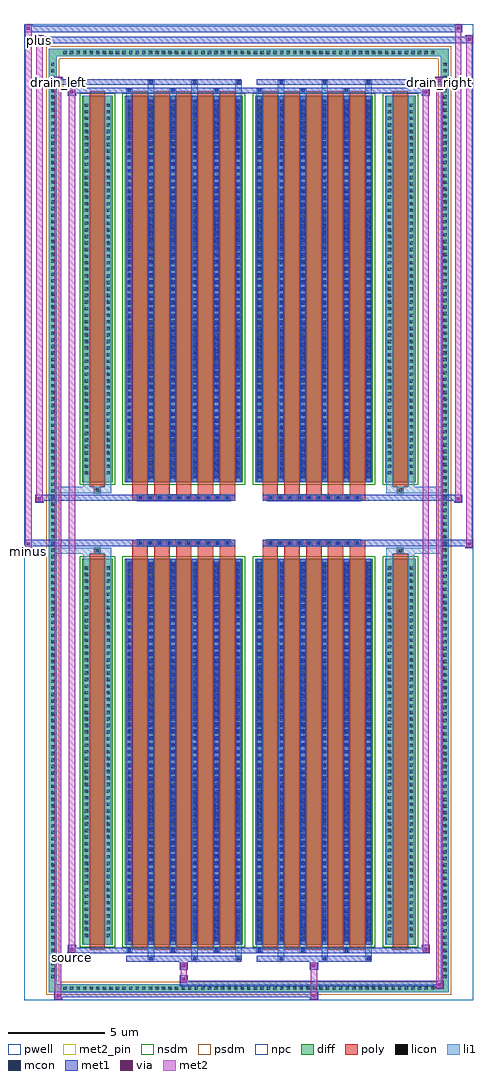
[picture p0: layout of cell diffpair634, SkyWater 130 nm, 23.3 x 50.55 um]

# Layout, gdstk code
import gdstk
lib = gdstk.Library(unit=1e-6, precision=5e-09)
def R(c, l, rs):  # rectangles x0, y0, x1, y1
    for r in rs: c.add(gdstk.rectangle(r[:2], r[2:], *l))
def A(c, l, x, y, w, h, nx, ny, dx, dy):  # array of equal rectangles
    R(c, l, [(x+i*dx, y+j*dy, x+i*dx+w, y+j*dy+h) for i in range(nx) for j in range(ny)])
def P(c, l, *ps):  # polygons
    for p in ps: c.add(gdstk.Polygon(p, *l))
pwell = (64, 44)
diff = (65, 20)
poly = (66, 20)
licon = (66, 44)
li1 = (67, 20)
mcon = (67, 44)
met1 = (68, 20)
via = (68, 44)
met2_pin = (69, 16)
met2 = (69, 20)
nsdm = (93, 44)
psdm = (94, 20)
npc = (95, 20)

diffpair634 = lib.new_cell('diffpair634')
R(diffpair634, pwell, [(-11.63,-24.84,11.63,25.71), (-8.95,-23.03,-0.01,-0.805), (0.01,-23.03,8.95,-0.805), (-8.95,0.805,-0.01,23.03), (0.01,0.805,8.95,23.03)])
A(diffpair634, diff, -9.725, -24.44, 0.41, 0.41, 57, 2, 0.34, 48.47)
A(diffpair634, diff, -10.36, -23.835, 0.41, 0.41, 1, 140, 0, 0.34)
A(diffpair634, diff, 9.95, -23.835, 0.41, 0.41, 1, 140, 0, 0.34)
R(diffpair634, diff, [(-9.725,-24.44,9.725,-24.03), (-10.36,-23.835,-9.95,23.835), (9.95,-23.835,10.36,23.835), (-8.64,-21.985,-7.06,-1.985), (-6.42,-21.985,-0.32,-1.985), (0.32,-21.985,6.42,-1.985), (7.06,-21.985,8.64,-1.985), (-8.64,1.985,-7.06,21.985), (-6.42,1.985,-0.32,21.985), (0.32,1.985,6.42,21.985), (7.06,1.985,8.64,21.985), (-9.725,24.03,9.725,24.44)])
P(diffpair634, diff, [(10.36,24.44),(-10.36,24.44),(-10.36,-24.03),(-9.95,-24.03),(-9.95,24.03),(9.95,24.03),(9.95,-24.03),(-9.95,-24.03),(-10.36,-24.03),(-10.36,-24.44),(10.36,-24.44)])
A(diffpair634, poly, -6.03, -22.235, 0.8, 20.5, 5, 2, 1.13, 23.97)
A(diffpair634, poly, 0.71, -22.235, 0.8, 20.5, 5, 2, 1.13, 23.97)
A(diffpair634, poly, -6.03, -1.735, 0.8, 0.4, 5, 2, 1.13, 3.07)
A(diffpair634, poly, 0.71, -1.735, 0.8, 0.4, 5, 2, 1.13, 3.07)
A(diffpair634, poly, -5.785, -1.335, 0.33, 0.33, 10, 2, 0.5, 2.34)
A(diffpair634, poly, 0.955, -1.335, 0.33, 0.33, 10, 2, 0.5, 2.34)
R(diffpair634, poly, [(-8.25,-22.235,-7.45,-1.735), (7.45,-22.235,8.25,-1.735), (-8.015,-1.735,-7.685,-1.405), (-8.015,-1.735,-7.685,-1.405), (7.685,-1.735,8.015,-1.405), (7.685,-1.735,8.015,-1.405), (-6.03,-1.335,-0.71,-1.005), (0.71,-1.335,6.03,-1.005), (-6.03,1.005,-0.71,1.335), (0.71,1.005,6.03,1.335), (-8.015,1.405,-7.685,1.735), (-8.015,1.405,-7.685,1.735), (7.685,1.405,8.015,1.735), (7.685,1.405,8.015,1.735), (-8.25,1.735,-7.45,22.235), (7.45,1.735,8.25,22.235)])
A(diffpair634, licon, -9.605, -24.32, 0.17, 0.17, 57, 2, 0.34, 48.47)
A(diffpair634, licon, -10.24, -23.715, 0.17, 0.17, 1, 140, 0, 0.34)
A(diffpair634, licon, 10.07, -23.715, 0.17, 0.17, 1, 140, 0, 0.34)
A(diffpair634, licon, -8.5, -21.59, 0.17, 0.17, 1, 57, 0, 0.34)
A(diffpair634, licon, -7.37, -21.59, 0.17, 0.17, 1, 57, 0, 0.34)
A(diffpair634, licon, -6.28, -21.59, 0.17, 0.17, 6, 57, 1.13, 0.34)
A(diffpair634, licon, 0.46, -21.59, 0.17, 0.17, 6, 57, 1.13, 0.34)
A(diffpair634, licon, 7.2, -21.59, 0.17, 0.17, 1, 57, 0, 0.34)
A(diffpair634, licon, 8.33, -21.59, 0.17, 0.17, 1, 57, 0, 0.34)
A(diffpair634, licon, -5.705, -1.255, 0.17, 0.17, 10, 2, 0.5, 2.34)
A(diffpair634, licon, 1.035, -1.255, 0.17, 0.17, 10, 2, 0.5, 2.34)
A(diffpair634, licon, -8.5, 2.38, 0.17, 0.17, 1, 57, 0, 0.34)
A(diffpair634, licon, -7.37, 2.38, 0.17, 0.17, 1, 57, 0, 0.34)
A(diffpair634, licon, -6.28, 2.38, 0.17, 0.17, 6, 57, 1.13, 0.34)
A(diffpair634, licon, 0.46, 2.38, 0.17, 0.17, 6, 57, 1.13, 0.34)
A(diffpair634, licon, 7.2, 2.38, 0.17, 0.17, 1, 57, 0, 0.34)
A(diffpair634, licon, 8.33, 2.38, 0.17, 0.17, 1, 57, 0, 0.34)
R(diffpair634, licon, [(-7.935,-1.655,-7.765,-1.485), (7.765,-1.655,7.935,-1.485), (-7.935,1.485,-7.765,1.655), (7.765,1.485,7.935,1.655)])
A(diffpair634, li1, -9.685, -24.4, 0.33, 0.33, 57, 2, 0.34, 48.47)
A(diffpair634, li1, -10.32, -23.795, 0.33, 0.33, 1, 140, 0, 0.34)
A(diffpair634, li1, 9.99, -23.795, 0.33, 0.33, 1, 140, 0, 0.34)
A(diffpair634, li1, -5.23, -22.79, 0.33, 0.805, 3, 2, 2.26, 44.775)
A(diffpair634, li1, -5.15, -22.79, 0.17, 0.17, 3, 2, 2.26, 45.41)
A(diffpair634, li1, 1.51, -22.79, 0.33, 0.805, 3, 2, 2.26, 44.775)
A(diffpair634, li1, 1.59, -22.79, 0.17, 0.17, 3, 2, 2.26, 45.41)
A(diffpair634, li1, -6.36, -22.36, 0.33, 0.375, 3, 2, 2.26, 44.345)
A(diffpair634, li1, -6.28, -22.36, 0.17, 0.17, 3, 2, 2.26, 44.55)
A(diffpair634, li1, 0.38, -22.36, 0.33, 0.375, 3, 2, 2.26, 44.345)
A(diffpair634, li1, 0.46, -22.36, 0.17, 0.17, 3, 2, 2.26, 44.55)
A(diffpair634, li1, -6.36, -21.985, 0.33, 20, 6, 2, 1.13, 23.97)
A(diffpair634, li1, 0.38, -21.985, 0.33, 20, 6, 2, 1.13, 23.97)
A(diffpair634, li1, -6.28, -21.79, 0.17, 0.17, 6, 55, 1.13, 0.36)
A(diffpair634, li1, -6.28, -21.79, 0.17, 19.61, 6, 2, 1.13, 23.97)
A(diffpair634, li1, 0.46, -21.79, 0.17, 0.17, 6, 55, 1.13, 0.36)
A(diffpair634, li1, 0.46, -21.79, 0.17, 19.61, 6, 2, 1.13, 23.97)
A(diffpair634, li1, -8.58, -21.67, 0.33, 0.33, 1, 57, 0, 0.34)
A(diffpair634, li1, -7.45, -21.67, 0.33, 0.33, 1, 57, 0, 0.34)
A(diffpair634, li1, -6.36, -21.67, 0.33, 0.33, 6, 57, 1.13, 0.34)
A(diffpair634, li1, 0.38, -21.67, 0.33, 0.33, 6, 57, 1.13, 0.34)
A(diffpair634, li1, 7.12, -21.67, 0.33, 0.33, 1, 57, 0, 0.34)
A(diffpair634, li1, 8.25, -21.67, 0.33, 0.33, 1, 57, 0, 0.34)
A(diffpair634, li1, -5.785, -1.335, 0.33, 0.33, 10, 2, 0.5, 2.34)
A(diffpair634, li1, 0.955, -1.335, 0.33, 0.33, 10, 2, 0.5, 2.34)
A(diffpair634, li1, -6.28, 2.18, 0.17, 0.17, 6, 55, 1.13, 0.36)
A(diffpair634, li1, 0.46, 2.18, 0.17, 0.17, 6, 55, 1.13, 0.36)
A(diffpair634, li1, -8.58, 2.3, 0.33, 0.33, 1, 57, 0, 0.34)
A(diffpair634, li1, -7.45, 2.3, 0.33, 0.33, 1, 57, 0, 0.34)
A(diffpair634, li1, -6.36, 2.3, 0.33, 0.33, 6, 57, 1.13, 0.34)
A(diffpair634, li1, 0.38, 2.3, 0.33, 0.33, 6, 57, 1.13, 0.34)
A(diffpair634, li1, 7.12, 2.3, 0.33, 0.33, 1, 57, 0, 0.34)
A(diffpair634, li1, 8.25, 2.3, 0.33, 0.33, 1, 57, 0, 0.34)
R(diffpair634, li1, [(-10.36,-24.44,-9.95,-24.03), (-10.36,-24.44,-9.95,-24.03), (-9.95,-24.44,9.95,-24.03), (9.95,-24.44,10.36,-24.03), (9.95,-24.44,10.36,-24.03), (-10.36,-24.03,-9.95,24.03), (9.95,-24.03,10.36,24.03), (-8.58,-21.985,-8.25,-1.985), (-7.45,-21.985,-7.12,-1.985), (7.12,-21.985,7.45,-1.985), (8.25,-21.985,8.58,-1.985), (-8.58,-1.985,-8.25,-1.405), (-7.45,-1.985,-7.12,-1.405), (7.12,-1.985,7.45,-1.405), (8.25,-1.985,8.58,-1.405), (-10.36,-1.735,-8.015,-1.405), (-8.58,-1.735,-8.015,-1.405), (-8.015,-1.735,-7.685,-1.405), (-7.685,-1.735,-7.12,-1.405), (7.12,-1.735,7.685,-1.405), (7.685,-1.735,8.015,-1.405), (7.685,-1.735,10.36,-1.405), (8.015,-1.735,8.58,-1.405), (-10.36,1.405,-8.015,1.735), (-8.58,1.405,-8.015,1.735), (-8.58,1.405,-8.25,1.985), (-8.015,1.405,-7.685,1.735), (-7.685,1.405,-7.12,1.735), (-7.45,1.405,-7.12,1.985), (7.12,1.405,7.685,1.735), (7.12,1.405,7.45,1.985), (7.685,1.405,8.015,1.735), (7.685,1.405,10.36,1.735), (8.015,1.405,8.58,1.735), (8.25,1.405,8.58,1.985), (-8.58,1.985,-8.25,21.985), (-7.45,1.985,-7.12,21.985), (7.12,1.985,7.45,21.985), (8.25,1.985,8.58,21.985), (-10.36,24.03,-9.95,24.44), (-10.36,24.03,-9.95,24.44), (-9.95,24.03,9.95,24.44), (9.95,24.03,10.36,24.44), (9.95,24.03,10.36,24.44)])
A(diffpair634, mcon, -5.15, -22.79, 0.17, 0.17, 3, 2, 2.26, 45.41)
A(diffpair634, mcon, 1.59, -22.79, 0.17, 0.17, 3, 2, 2.26, 45.41)
A(diffpair634, mcon, -6.28, -22.36, 0.17, 0.17, 3, 2, 2.26, 44.55)
A(diffpair634, mcon, 0.46, -22.36, 0.17, 0.17, 3, 2, 2.26, 44.55)
A(diffpair634, mcon, -6.28, -21.79, 0.17, 0.17, 6, 55, 1.13, 0.36)
A(diffpair634, mcon, 0.46, -21.79, 0.17, 0.17, 6, 55, 1.13, 0.36)
A(diffpair634, mcon, -5.705, -1.255, 0.17, 0.17, 10, 2, 0.5, 2.34)
A(diffpair634, mcon, 1.035, -1.255, 0.17, 0.17, 10, 2, 0.5, 2.34)
A(diffpair634, mcon, -6.28, 2.18, 0.17, 0.17, 6, 55, 1.13, 0.36)
A(diffpair634, mcon, 0.46, 2.18, 0.17, 0.17, 6, 55, 1.13, 0.36)
A(diffpair634, met1, -5.21, -22.85, 0.29, 0.29, 3, 2, 2.26, 45.41)
A(diffpair634, met1, 1.53, -22.85, 0.29, 0.29, 3, 2, 2.26, 45.41)
A(diffpair634, met1, -6.34, -22.42, 0.29, 0.29, 3, 2, 2.26, 44.55)
A(diffpair634, met1, 0.4, -22.42, 0.29, 0.29, 3, 2, 2.26, 44.55)
A(diffpair634, met1, -6.34, -21.985, 0.29, 20, 6, 2, 1.13, 23.97)
A(diffpair634, met1, 0.4, -21.985, 0.29, 20, 6, 2, 1.13, 23.97)
A(diffpair634, met1, -6.34, -21.85, 0.29, 0.29, 6, 55, 1.13, 0.36)
A(diffpair634, met1, 0.4, -21.85, 0.29, 0.29, 6, 55, 1.13, 0.36)
A(diffpair634, met1, -5.765, -1.315, 0.29, 0.29, 10, 2, 0.5, 2.34)
A(diffpair634, met1, 0.975, -1.315, 0.29, 0.29, 10, 2, 0.5, 2.34)
A(diffpair634, met1, -6.34, 2.12, 0.29, 0.29, 6, 55, 1.13, 0.36)
A(diffpair634, met1, 0.4, 2.12, 0.29, 0.29, 6, 55, 1.13, 0.36)
R(diffpair634, met1, [(-10.09,-24.84,-9.66,-24.41), (3.155,-24.84,3.585,-24.41), (-10.09,-24.7,3.585,-24.41), (9.66,-24.27,10.09,-23.84), (-3.585,-24.13,10.09,-23.84), (-3.585,-23.99,-3.155,-23.56), (-3.585,-23.28,-3.155,-22.85), (3.155,-23.28,3.585,-22.85), (-6.34,-22.85,-0.4,-22.56), (0.4,-22.85,6.34,-22.56), (-9.38,-22.42,-8.95,-21.99), (-9.38,-22.42,-6.34,-22.13), (-6.34,-22.42,-0.4,-22.13), (-0.4,-22.42,0.4,-22.13), (0.4,-22.42,6.34,-22.13), (6.34,-22.42,9.38,-22.13), (8.95,-22.42,9.38,-21.99), (-11.63,-1.435,-11.2,-1.005), (11.2,-1.435,11.63,-1.005), (-11.63,-1.335,-0.71,-1.005), (-6.03,-1.335,-0.71,-1.005), (0.71,-1.335,6.03,-1.005), (0.71,-1.335,11.63,-1.005), (-11.06,0.905,-10.63,1.335), (10.63,0.905,11.06,1.335), (-11.06,1.005,-6.03,1.335), (-6.03,1.005,-0.71,1.335), (0.71,1.005,6.03,1.335), (6.03,1.005,11.06,1.335), (-9.38,21.99,-8.95,22.42), (8.95,21.99,9.38,22.42), (-9.38,22.13,-6.34,22.42), (-6.34,22.13,-0.4,22.42), (-0.4,22.13,0.4,22.42), (0.4,22.13,6.34,22.42), (6.34,22.13,9.38,22.42), (-10.09,22.56,-9.66,22.99), (-10.09,22.56,-6.34,22.85), (-6.34,22.56,-0.4,22.85), (0.4,22.56,6.34,22.85), (6.34,22.56,10.09,22.85), (9.66,22.56,10.09,22.99), (-11.06,24.71,-10.63,25.14), (-11.06,24.71,-8.95,25.04), (-8.95,24.71,8.95,25.04), (8.95,24.71,11.63,25.04), (11.2,24.71,11.63,25.14), (-11.63,25.28,-11.2,25.71), (-11.63,25.28,-8.95,25.61), (-8.95,25.28,8.95,25.61), (8.95,25.28,11.06,25.61), (10.63,25.28,11.06,25.71)])
R(diffpair634, via, [(-9.95,-24.7,-9.8,-24.55), (3.295,-24.7,3.445,-24.55), (9.8,-24.13,9.95,-23.98), (-3.445,-23.85,-3.295,-23.7), (-3.445,-23.14,-3.295,-22.99), (3.295,-23.14,3.445,-22.99), (-9.24,-22.28,-9.09,-22.13), (9.09,-22.28,9.24,-22.13), (-11.49,-1.295,-11.34,-1.145), (11.34,-1.295,11.49,-1.145), (-10.92,1.045,-10.77,1.195), (10.77,1.045,10.92,1.195), (-9.24,22.13,-9.09,22.28), (9.09,22.13,9.24,22.28), (-9.95,22.7,-9.8,22.85), (9.8,22.7,9.95,22.85), (-10.92,24.85,-10.77,25), (11.34,24.85,11.49,25), (-11.49,25.42,-11.34,25.57), (10.77,25.42,10.92,25.57)])
R(diffpair634, met2_pin, [(-9.415,-22.87,-8.915,-22.37), (-11.665,-1.885,-11.165,-1.385), (-10.125,22.44,-9.625,22.94), (9.625,22.44,10.125,22.94), (-11.095,24.59,-10.595,25.09)])
R(diffpair634, met2, [(-10.04,-24.79,-9.71,-24.46), (-10.04,-24.79,-9.71,22.94), (3.205,-24.79,3.535,-24.46), (3.205,-24.46,3.535,-23.23), (9.71,-24.22,10.04,-23.89), (9.71,-24.22,10.04,22.94), (-3.535,-23.94,-3.205,-23.61), (-3.535,-23.61,-3.205,-23.23), (-3.535,-23.23,-3.205,-22.9), (3.205,-23.23,3.535,-22.9), (-9.33,-22.37,-9,-22.04), (-9.33,-22.37,-9,22.37), (9,-22.37,9.33,-22.04), (9,-22.37,9.33,22.37), (-11.58,-1.385,-11.25,-1.055), (-11.58,-1.385,-11.25,25.66), (11.25,-1.385,11.58,-1.055), (11.25,-1.385,11.58,25.09), (-11.01,0.955,-10.68,1.285), (-11.01,0.955,-10.68,25.09), (10.68,0.955,11.01,1.285), (10.68,0.955,11.01,25.66), (-9.33,22.04,-9,22.37), (9,22.04,9.33,22.37), (-10.04,22.61,-9.71,22.94), (9.71,22.61,10.04,22.94), (-11.01,24.76,-10.68,25.09), (11.25,24.76,11.58,25.09), (-11.58,25.33,-11.25,25.66), (10.68,25.33,11.01,25.66)])
P(diffpair634, met2, [(11.58,-1.385),(11.58,-1.385),(11.58,-1.055),(11.58,-1.055)],
  [(11.58,24.76),(11.58,24.76),(11.58,25.09),(11.58,25.09)],
  [(-11.25,-1.385),(-11.25,-1.385),(-11.25,-1.055),(-11.25,-1.055)],
  [(-11.25,25.33),(-11.25,25.33),(-11.25,25.66),(-11.25,25.66)],
  [(11.01,0.955),(11.01,0.955),(11.01,1.285),(11.01,1.285)],
  [(11.01,25.33),(11.01,25.33),(11.01,25.66),(11.01,25.66)],
  [(-10.68,0.955),(-10.68,0.955),(-10.68,1.285),(-10.68,1.285)],
  [(-10.68,24.76),(-10.68,24.76),(-10.68,25.09),(-10.68,25.09)],
  [(-9.71,-24.79),(-9.71,-24.79),(-9.71,-24.46),(-9.71,-24.46)],
  [(-9.71,22.61),(-9.71,22.61),(-9.71,22.94),(-9.71,22.94)],
  [(10.04,-24.22),(10.04,-24.22),(10.04,-23.89),(10.04,-23.89)],
  [(10.04,22.61),(10.04,22.61),(10.04,22.94),(10.04,22.94)],
  [(-9,-22.37),(-9,-22.37),(-9,-22.04),(-9,-22.04)],
  [(-9,22.04),(-9,22.04),(-9,22.37),(-9,22.37)],
  [(9.33,-22.37),(9.33,-22.37),(9.33,-22.04),(9.33,-22.04)],
  [(9.33,22.04),(9.33,22.04),(9.33,22.37),(9.33,22.37)])
R(diffpair634, nsdm, [(-8.77,-22.115,-6.93,-1.855), (-6.55,-22.115,-0.19,-1.855), (0.19,-22.115,6.55,-1.855), (6.93,-22.115,8.77,-1.855), (-8.77,1.855,-6.93,22.115), (-6.55,1.855,-0.19,22.115), (0.19,1.855,6.55,22.115), (6.93,1.855,8.77,22.115)])
P(diffpair634, psdm, [(10.49,24.57),(-10.49,24.57),(-10.49,-23.9),(-9.82,-23.9),(-9.82,23.9),(9.82,23.9),(9.82,-23.9),(-9.82,-23.9),(-10.49,-23.9),(-10.49,-24.57),(10.49,-24.57)])
A(diffpair634, npc, -5.805, -1.355, 0.37, 0.37, 10, 2, 0.5, 2.34)
A(diffpair634, npc, 0.935, -1.355, 0.37, 0.37, 10, 2, 0.5, 2.34)
R(diffpair634, npc, [(-8.035,-1.755,-7.665,-1.385), (7.665,-1.755,8.035,-1.385), (-5.805,-1.355,-4.935,-0.985), (-5.805,-1.355,-4.935,-0.985), (-5.305,-1.355,-4.435,-0.985), (-5.305,-1.355,-4.435,-0.985), (-4.805,-1.355,-3.935,-0.985), (-4.805,-1.355,-3.935,-0.985), (-4.305,-1.355,-3.435,-0.985), (-4.305,-1.355,-3.435,-0.985), (-3.805,-1.355,-2.935,-0.985), (-3.805,-1.355,-2.935,-0.985), (-3.305,-1.355,-2.435,-0.985), (-3.305,-1.355,-2.435,-0.985), (-2.805,-1.355,-1.935,-0.985), (-2.805,-1.355,-1.935,-0.985), (-2.305,-1.355,-1.435,-0.985), (-2.305,-1.355,-1.435,-0.985), (-1.805,-1.355,-0.935,-0.985), (-1.805,-1.355,-0.935,-0.985), (0.935,-1.355,1.805,-0.985), (0.935,-1.355,1.805,-0.985), (1.435,-1.355,2.305,-0.985), (1.435,-1.355,2.305,-0.985), (1.935,-1.355,2.805,-0.985), (1.935,-1.355,2.805,-0.985), (2.435,-1.355,3.305,-0.985), (2.435,-1.355,3.305,-0.985), (2.935,-1.355,3.805,-0.985), (2.935,-1.355,3.805,-0.985), (3.435,-1.355,4.305,-0.985), (3.435,-1.355,4.305,-0.985), (3.935,-1.355,4.805,-0.985), (3.935,-1.355,4.805,-0.985), (4.435,-1.355,5.305,-0.985), (4.435,-1.355,5.305,-0.985), (4.935,-1.355,5.805,-0.985), (4.935,-1.355,5.805,-0.985), (-5.805,0.985,-4.935,1.355), (-5.805,0.985,-4.935,1.355), (-5.305,0.985,-4.435,1.355), (-5.305,0.985,-4.435,1.355), (-4.805,0.985,-3.935,1.355), (-4.805,0.985,-3.935,1.355), (-4.305,0.985,-3.435,1.355), (-4.305,0.985,-3.435,1.355), (-3.805,0.985,-2.935,1.355), (-3.805,0.985,-2.935,1.355), (-3.305,0.985,-2.435,1.355), (-3.305,0.985,-2.435,1.355), (-2.805,0.985,-1.935,1.355), (-2.805,0.985,-1.935,1.355), (-2.305,0.985,-1.435,1.355), (-2.305,0.985,-1.435,1.355), (-1.805,0.985,-0.935,1.355), (-1.805,0.985,-0.935,1.355), (0.935,0.985,1.805,1.355), (0.935,0.985,1.805,1.355), (1.435,0.985,2.305,1.355), (1.435,0.985,2.305,1.355), (1.935,0.985,2.805,1.355), (1.935,0.985,2.805,1.355), (2.435,0.985,3.305,1.355), (2.435,0.985,3.305,1.355), (2.935,0.985,3.805,1.355), (2.935,0.985,3.805,1.355), (3.435,0.985,4.305,1.355), (3.435,0.985,4.305,1.355), (3.935,0.985,4.805,1.355), (3.935,0.985,4.805,1.355), (4.435,0.985,5.305,1.355), (4.435,0.985,5.305,1.355), (4.935,0.985,5.805,1.355), (4.935,0.985,5.805,1.355), (-8.035,1.385,-7.665,1.755), (7.665,1.385,8.035,1.755)])
diffpair634.add(gdstk.Label('minus', (-11.415,-1.635), layer=69, texttype=5))
diffpair634.add(gdstk.Label('drain_right', (9.875,22.69), layer=69, texttype=5))
diffpair634.add(gdstk.Label('drain_left', (-9.875,22.69), layer=69, texttype=5))
diffpair634.add(gdstk.Label('source', (-9.165,-22.62), layer=69, texttype=5))
diffpair634.add(gdstk.Label('plus', (-10.845,24.84), layer=69, texttype=5))

lib.write_gds('diffpair634.gds')
